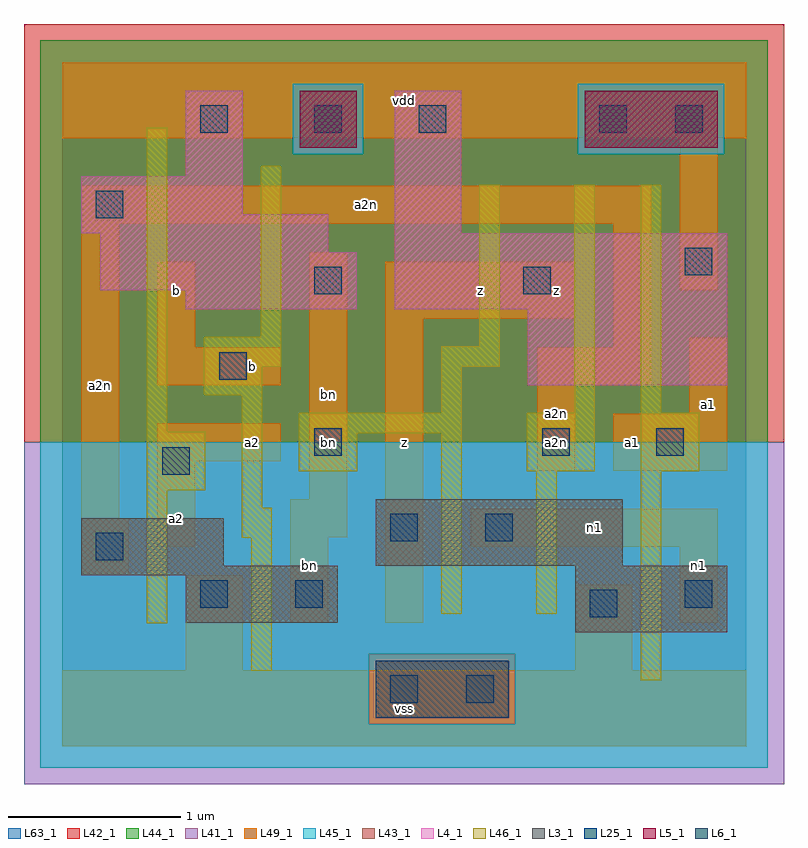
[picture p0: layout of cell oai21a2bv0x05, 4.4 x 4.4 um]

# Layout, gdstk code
import gdstk
lib = gdstk.Library(unit=1e-6, precision=1e-09)
def R(c, l, rs):  # rectangles x0, y0, x1, y1
    for r in rs: c.add(gdstk.rectangle(r[:2], r[2:], *l))
def A(c, l, x, y, w, h, nx, ny, dx, dy):  # array of equal rectangles
    R(c, l, [(x+i*dx, y+j*dy, x+i*dx+w, y+j*dy+h) for i in range(nx) for j in range(ny)])
L3_1 = (3, 1)
L4_1 = (4, 1)
L5_1 = (5, 1)
L6_1 = (6, 1)
L25_1 = (25, 1)
L41_1 = (41, 1)
L42_1 = (42, 1)
L43_1 = (43, 1)
L44_1 = (44, 1)
L45_1 = (45, 1)
L46_1 = (46, 1)
L49_1 = (49, 1)
L63_1 = (63, 1)

oai21a2bv0x05 = lib.new_cell('oai21a2bv0x05')
R(oai21a2bv0x05, L3_1, [(2.97,0.66,3.85,1.045), (0.715,0.715,1.595,0.99), (0.11,0.99,1.595,1.045), (0.11,1.045,0.935,1.32), (1.815,1.045,3.245,1.43)])
R(oai21a2bv0x05, L4_1, [(2.695,2.09,3.85,2.53), (0.715,2.53,1.705,2.64), (1.925,2.53,3.85,2.97), (0.22,2.64,1.705,2.86), (0.22,2.86,1.54,2.97), (0.11,2.97,1.54,3.08), (1.925,2.97,2.31,3.795), (0.11,3.08,1.045,3.3), (0.715,3.3,1.045,3.795)])
R(oai21a2bv0x05, L5_1, [(1.375,3.465,1.705,3.795), (3.025,3.465,3.795,3.795)])
R(oai21a2bv0x05, L6_1, [(1.815,0.165,2.585,0.495)])
A(oai21a2bv0x05, L25_1, 1.46, 1.68, 0.16, 0.16, 1, 3, 0, 0.935)
R(oai21a2bv0x05, L25_1, [(1.9,0.25,2.06,0.41), (2.34,0.25,2.5,0.41), (3.055,0.745,3.215,0.905), (0.8,0.8,0.96,0.96), (1.35,0.8,1.51,0.96), (3.605,0.8,3.765,0.96), (0.195,1.075,0.355,1.235), (1.9,1.185,2.06,1.345), (2.45,1.185,2.61,1.345), (0.58,1.57,0.74,1.73), (2.78,1.68,2.94,1.84), (3.44,1.68,3.6,1.84), (0.91,2.12,1.07,2.28), (2.67,2.615,2.83,2.775), (3.605,2.725,3.765,2.885), (0.195,3.055,0.355,3.215), (0.8,3.55,0.96,3.71), (2.065,3.55,2.225,3.71), (3.11,3.55,3.27,3.71), (3.55,3.55,3.71,3.71)])
R(oai21a2bv0x05, L41_1, [(-0.22,-0.22,4.18,1.76)])
R(oai21a2bv0x05, L42_1, [(-0.22,1.76,4.18,4.18)])
R(oai21a2bv0x05, L43_1, [(1.815,0.165,2.585,0.495), (2.97,0.66,3.85,1.045), (0.715,0.715,1.595,0.99), (0.11,0.99,1.595,1.045), (0.11,1.045,0.935,1.32), (1.815,1.045,3.245,1.43), (2.695,2.09,3.85,2.53), (0.715,2.53,1.705,2.64), (1.925,2.53,3.85,2.97), (0.22,2.64,1.705,2.86), (0.22,2.86,1.54,2.97), (0.11,2.97,1.54,3.08), (1.925,2.97,2.31,3.795), (0.11,3.08,1.045,3.3), (0.715,3.3,1.045,3.795), (1.375,3.465,1.705,3.795), (3.025,3.465,3.795,3.795)])
R(oai21a2bv0x05, L44_1, [(1.775,0.125,2.625,0.535), (-0.125,1.76,4.085,3.425), (-0.125,3.425,1.335,3.835), (1.745,3.425,2.985,3.835), (3.835,3.425,4.085,3.835), (-0.125,3.835,4.085,4.085)])
R(oai21a2bv0x05, L45_1, [(-0.125,-0.125,4.085,0.125), (-0.125,0.125,1.775,0.535), (2.625,0.125,4.085,0.535), (-0.125,0.535,4.085,1.76), (1.335,3.425,1.745,3.835), (2.985,3.425,3.835,3.835)])
R(oai21a2bv0x05, L46_1, [(3.35,0.38,3.47,1.59), (1.095,0.435,1.215,1.205), (0.49,0.71,0.61,1.48), (2.195,0.765,2.315,1.81), (2.745,0.765,2.865,1.59), (1.04,1.205,1.215,1.38), (1.04,1.38,1.16,2.03), (0.49,1.48,0.83,1.82), (1.37,1.59,1.71,1.81), (2.69,1.59,3.085,1.93), (3.35,1.59,3.69,1.93), (1.37,1.81,2.315,1.93), (0.49,1.82,0.61,3.58), (2.195,1.93,2.315,2.195), (2.965,1.93,3.085,3.25), (3.35,1.93,3.47,3.25), (0.82,2.03,1.16,2.195), (0.82,2.195,1.27,2.37), (2.195,2.195,2.535,2.315), (2.415,2.315,2.535,3.25), (1.15,2.37,1.27,3.36)])
R(oai21a2bv0x05, L49_1, [(0,0,3.96,0.44), (0.715,0.44,1.045,0.99), (2.97,0.44,3.3,0.935), (1.32,0.715,1.54,1.21), (1.87,0.715,2.09,2.475), (3.575,0.715,3.795,1.155), (0.11,0.99,0.385,1.32), (0.55,1.155,0.77,1.65), (2.365,1.155,3.795,1.375), (1.32,1.21,1.65,1.43), (0.11,1.32,0.33,3.025), (1.43,1.43,1.65,2.86), (2.75,1.595,2.97,2.09), (3.19,1.595,3.85,1.925), (0.55,1.65,1.265,1.87), (3.63,1.925,3.85,2.365), (0.55,2.09,1.265,2.31), (2.75,2.09,3.41,2.31), (0.55,2.31,0.77,2.805), (3.19,2.31,3.41,3.025), (1.87,2.475,2.97,2.805), (3.575,2.64,3.795,3.52), (0.11,3.025,3.41,3.245), (0,3.52,3.96,3.96)])
R(oai21a2bv0x05, L63_1, [(0,0,3.96,3.96)])
oai21a2bv0x05.add(gdstk.Label('bn', (1.54,1.76), layer=49, texttype=1))
oai21a2bv0x05.add(gdstk.Label('a2n', (2.86,1.76), layer=49, texttype=1))
oai21a2bv0x05.add(gdstk.Label('a2', (0.66,1.32), layer=49, texttype=1))
oai21a2bv0x05.add(gdstk.Label('b', (0.66,2.64), layer=49, texttype=1))
oai21a2bv0x05.add(gdstk.Label('a2n', (0.22,2.09), layer=49, texttype=1))
oai21a2bv0x05.add(gdstk.Label('bn', (1.43,1.045), layer=49, texttype=1))
oai21a2bv0x05.add(gdstk.Label('a2', (1.1,1.76), layer=49, texttype=1))
oai21a2bv0x05.add(gdstk.Label('bn', (1.54,2.035), layer=49, texttype=1))
oai21a2bv0x05.add(gdstk.Label('b', (1.1,2.2), layer=49, texttype=1))
oai21a2bv0x05.add(gdstk.Label('vss', (1.98,0.22), layer=49, texttype=1))
oai21a2bv0x05.add(gdstk.Label('z', (1.98,1.76), layer=49, texttype=1))
oai21a2bv0x05.add(gdstk.Label('a2n', (2.86,1.925), layer=49, texttype=1))
oai21a2bv0x05.add(gdstk.Label('z', (2.42,2.64), layer=49, texttype=1))
oai21a2bv0x05.add(gdstk.Label('z', (2.86,2.64), layer=49, texttype=1))
oai21a2bv0x05.add(gdstk.Label('vdd', (1.98,3.74), layer=49, texttype=1))
oai21a2bv0x05.add(gdstk.Label('n1', (3.685,1.045), layer=49, texttype=1))
oai21a2bv0x05.add(gdstk.Label('n1', (3.08,1.265), layer=49, texttype=1))
oai21a2bv0x05.add(gdstk.Label('a1', (3.3,1.76), layer=49, texttype=1))
oai21a2bv0x05.add(gdstk.Label('a1', (3.74,1.98), layer=49, texttype=1))
oai21a2bv0x05.add(gdstk.Label('a2n', (1.76,3.135), layer=49, texttype=1))

lib.write_gds('oai21a2bv0x05.gds')
